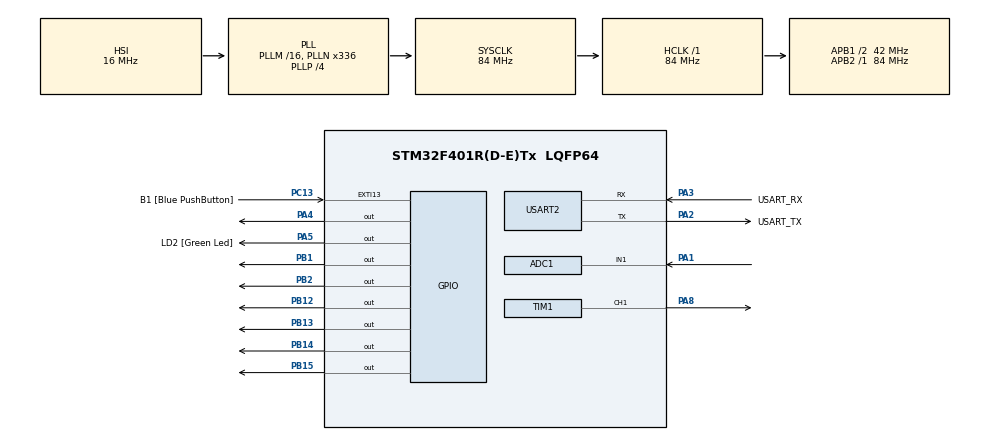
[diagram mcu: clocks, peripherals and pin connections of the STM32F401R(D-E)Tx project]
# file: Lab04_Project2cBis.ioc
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ADC1.Channel-0\#ChannelRegularConversion=ADC_CHANNEL_1
ADC1.ExternalTrigConv=ADC_EXTERNALTRIGCONV_T1_CC1
ADC1.NbrOfConversionFlag=1
ADC1.Rank-0\#ChannelRegularConversion=1
ADC1.SamplingTime-0\#ChannelRegularConversion=ADC_SAMPLETIME_480CYCLES
ADC1.master=1
Mcu.Family=STM32F4
Mcu.Name=STM32F401R(D-E)Tx
Mcu.Package=LQFP64
NVIC.ADC_IRQn=true\:0\:0\:false\:false\:true\:true\:true\:true
NVIC.PriorityGroup=NVIC_PRIORITYGROUP_0
PA1.Signal=ADCx_IN1
PA13.GPIO_Label=TMS
PA13.Mode=Serial_Wire
PA13.Signal=SYS_JTMS-SWDIO
PA14.GPIO_Label=TCK
PA14.Mode=Serial_Wire
PA14.Signal=SYS_JTCK-SWCLK
PA2.GPIO_Label=USART_TX
PA2.GPIO_Mode=GPIO_MODE_AF_PP
PA2.GPIO_PuPd=GPIO_NOPULL
PA2.GPIO_Speed=GPIO_SPEED_FREQ_LOW
PA2.Mode=Asynchronous
PA2.Signal=USART2_TX
PA3.GPIO_Label=USART_RX
PA3.GPIO_Mode=GPIO_MODE_AF_PP
PA3.GPIO_PuPd=GPIO_NOPULL
PA3.GPIO_Speed=GPIO_SPEED_FREQ_LOW
PA3.Mode=Asynchronous
PA3.Signal=USART2_RX
PA4.Signal=GPIO_Output
PA5.GPIO_Label=LD2 [Green Led]
PA5.GPIO_Mode=GPIO_MODE_OUTPUT_PP
PA5.GPIO_PuPd=GPIO_NOPULL
PA5.GPIO_Speed=GPIO_SPEED_FREQ_LOW
PA5.Signal=GPIO_Output
PA8.Signal=S_TIM1_CH1
PB1.Signal=GPIO_Output
PB12.Signal=GPIO_Output
PB13.Signal=GPIO_Output
PB14.Signal=GPIO_Output
PB15.Signal=GPIO_Output
PB2.Signal=GPIO_Output
PB3.GPIO_Label=SWO
PB3.Signal=SYS_JTDO-SWO
PC13-ANTI_TAMP.GPIO_Label=B1 [Blue PushButton]
PC13-ANTI_TAMP.GPIO_ModeDefaultEXTI=GPIO_MODE_IT_FALLING
PC13-ANTI_TAMP.GPIO_PuPd=GPIO_NOPULL
PC13-ANTI_TAMP.Signal=GPXTI13
PC14-OSC32_IN.Mode=LSE-External-Oscillator
PC14-OSC32_IN.Signal=RCC_OSC32_IN
PC15-OSC32_OUT.Mode=LSE-External-Oscillator
PC15-OSC32_OUT.Signal=RCC_OSC32_OUT
PH0\ -\ OSC_IN.Mode=HSE-External-Clock-Source
PH0\ -\ OSC_IN.Signal=RCC_OSC_IN
PH1\ -\ OSC_OUT.Mode=HSE-External-Clock-Source
PH1\ -\ OSC_OUT.Signal=RCC_OSC_OUT
ProjectManager.HeapSize=0x200
ProjectManager.StackSize=0x400
ProjectManager.TargetToolchain=STM32CubeIDE
RCC.48MHZClocksFreq_Value=48000000
RCC.AHBFreq_Value=84000000
RCC.APB1CLKDivider=RCC_HCLK_DIV2
RCC.APB1Freq_Value=42000000
RCC.APB1TimFreq_Value=84000000
RCC.APB2Freq_Value=84000000
RCC.APB2TimFreq_Value=84000000
RCC.CortexFreq_Value=84000000
RCC.HCLKFreq_Value=84000000
RCC.HSE_VALUE=8000000
RCC.HSI_VALUE=16000000
RCC.PLLN=336
RCC.PLLP=RCC_PLLP_DIV4
RCC.PLLQ=7
RCC.SYSCLKFreq_VALUE=84000000
RCC.SYSCLKSource=RCC_SYSCLKSOURCE_PLLCLK
RCC.VCOOutputFreq_Value=336000000
SH.ADCx_IN1.0=ADC1_IN1,IN1
SH.S_TIM1_CH1.0=TIM1_CH1,PWM Generation1 CH1
TIM1.Channel-PWM\ Generation1\ CH1=TIM_CHANNEL_1
TIM1.Period=2000-1
TIM1.Prescaler=8400-1
TIM1.Pulse-PWM\ Generation1\ CH1=1
USART2.VirtualMode=VM_ASYNC
VP_TIM1_VS_ClockSourceINT.Mode=Internal
board=NUCLEO-F401RE

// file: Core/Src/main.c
/* USER CODE BEGIN Header */
/**
  ******************************************************************************
  * @file           : main.c
  * @brief          : Main program body
  ******************************************************************************
  * @attention
  *
  * Copyright (c) 2023 STMicroelectronics.
  * All rights reserved.
  *
  * This software is licensed under terms that can be found in the LICENSE file
  * in the root directory of this software component.
  * If no LICENSE file comes with this software, it is provided AS-IS.
  *
  ******************************************************************************
  */
/* USER CODE END Header */
#include "main.h"

/* USER CODE BEGIN Includes */
#include "stdio.h"
#include "string.h"
#include "PMDB16_LCD.h"
/* USER CODE END Includes */

ADC_HandleTypeDef hadc1;

TIM_HandleTypeDef htim1;

UART_HandleTypeDef huart2;

void SystemClock_Config(void);
static void MX_GPIO_Init(void);
static void MX_USART2_UART_Init(void);
static void MX_ADC1_Init(void);
static void MX_TIM1_Init(void);

int main(void)
{

  /* MCU Configuration--------------------------------------------------------*/

  /* Reset of all peripherals, Initializes the Flash interface and the Systick. */
  HAL_Init();

  /* Configure the system clock */
  SystemClock_Config();

  /* Initialize all configured peripherals */
  MX_GPIO_Init();
  MX_USART2_UART_Init();
  MX_ADC1_Init();
  MX_TIM1_Init();
  /* USER CODE BEGIN 2 */
  HAL_TIM_PWM_Start(&htim1, TIM_CHANNEL_1);
  HAL_ADC_Start_IT(&hadc1);
  lcd_initialize();
  lcd_backlight_ON();
  /* USER CODE END 2 */

  /* Infinite loop */
  while (1)
  {

  }
}

void SystemClock_Config(void)
{
  RCC_OscInitTypeDef RCC_OscInitStruct = {0};
  RCC_ClkInitTypeDef RCC_ClkInitStruct = {0};

  /** Configure the main internal regulator output voltage
  */
  __HAL_RCC_PWR_CLK_ENABLE();
  __HAL_PWR_VOLTAGESCALING_CONFIG(PWR_REGULATOR_VOLTAGE_SCALE2);

  /** Initializes the RCC Oscillators according to the specified parameters
  * in the RCC_OscInitTypeDef structure.
  */
  RCC_OscInitStruct.OscillatorType = RCC_OSCILLATORTYPE_HSI;
  RCC_OscInitStruct.HSIState = RCC_HSI_ON;
  RCC_OscInitStruct.HSICalibrationValue = RCC_HSICALIBRATION_DEFAULT;
  RCC_OscInitStruct.PLL.PLLState = RCC_PLL_ON;
  RCC_OscInitStruct.PLL.PLLSource = RCC_PLLSOURCE_HSI;
  RCC_OscInitStruct.PLL.PLLM = 16;
  RCC_OscInitStruct.PLL.PLLN = 336;
  RCC_OscInitStruct.PLL.PLLP = RCC_PLLP_DIV4;
  RCC_OscInitStruct.PLL.PLLQ = 7;
  if (HAL_RCC_OscConfig(&RCC_OscInitStruct) != HAL_OK)
  {
    Error_Handler();
  }

  /** Initializes the CPU, AHB and APB buses clocks
  */
  RCC_ClkInitStruct.ClockType = RCC_CLOCKTYPE_HCLK|RCC_CLOCKTYPE_SYSCLK
                              |RCC_CLOCKTYPE_PCLK1|RCC_CLOCKTYPE_PCLK2;
  RCC_ClkInitStruct.SYSCLKSource = RCC_SYSCLKSOURCE_PLLCLK;
  RCC_ClkInitStruct.AHBCLKDivider = RCC_SYSCLK_DIV1;
  RCC_ClkInitStruct.APB1CLKDivider = RCC_HCLK_DIV2;
  RCC_ClkInitStruct.APB2CLKDivider = RCC_HCLK_DIV1;

  if (HAL_RCC_ClockConfig(&RCC_ClkInitStruct, FLASH_LATENCY_2) != HAL_OK)
  {
    Error_Handler();
  }
}

static void MX_ADC1_Init(void)
{

  ADC_ChannelConfTypeDef sConfig = {0};

  /** Configure the global features of the ADC (Clock, Resolution, Data Alignment and number of conversion)
  */
  hadc1.Instance = ADC1;
  hadc1.Init.ClockPrescaler = ADC_CLOCK_SYNC_PCLK_DIV4;
  hadc1.Init.Resolution = ADC_RESOLUTION_12B;
  hadc1.Init.ScanConvMode = DISABLE;
  hadc1.Init.ContinuousConvMode = DISABLE;
  hadc1.Init.DiscontinuousConvMode = DISABLE;
  hadc1.Init.ExternalTrigConvEdge = ADC_EXTERNALTRIGCONVEDGE_RISING;
  hadc1.Init.ExternalTrigConv = ADC_EXTERNALTRIGCONV_T1_CC1;
  hadc1.Init.DataAlign = ADC_DATAALIGN_RIGHT;
  hadc1.Init.NbrOfConversion = 1;
  hadc1.Init.DMAContinuousRequests = DISABLE;
  hadc1.Init.EOCSelection = ADC_EOC_SINGLE_CONV;
  if (HAL_ADC_Init(&hadc1) != HAL_OK)
  {
    Error_Handler();
  }

  /** Configure for the selected ADC regular channel its corresponding rank in the sequencer and its sample time.
  */
  sConfig.Channel = ADC_CHANNEL_1;
  sConfig.Rank = 1;
  sConfig.SamplingTime = ADC_SAMPLETIME_480CYCLES;
  if (HAL_ADC_ConfigChannel(&hadc1, &sConfig) != HAL_OK)
  {
    Error_Handler();
  }

}

static void MX_TIM1_Init(void)
{

  TIM_ClockConfigTypeDef sClockSourceConfig = {0};
  TIM_MasterConfigTypeDef sMasterConfig = {0};
  TIM_OC_InitTypeDef sConfigOC = {0};
  TIM_BreakDeadTimeConfigTypeDef sBreakDeadTimeConfig = {0};

  htim1.Instance = TIM1;
  htim1.Init.Prescaler = 8400-1;
  htim1.Init.CounterMode = TIM_COUNTERMODE_UP;
  htim1.Init.Period = 2000-1;
  htim1.Init.ClockDivision = TIM_CLOCKDIVISION_DIV1;
  htim1.Init.RepetitionCounter = 0;
  htim1.Init.AutoReloadPreload = TIM_AUTORELOAD_PRELOAD_DISABLE;
  if (HAL_TIM_Base_Init(&htim1) != HAL_OK)
  {
    Error_Handler();
  }
  sClockSourceConfig.ClockSource = TIM_CLOCKSOURCE_INTERNAL;
  if (HAL_TIM_ConfigClockSource(&htim1, &sClockSourceConfig) != HAL_OK)
  {
    Error_Handler();
  }
  if (HAL_TIM_PWM_Init(&htim1) != HAL_OK)
  {
    Error_Handler();
  }
  sMasterConfig.MasterOutputTrigger = TIM_TRGO_RESET;
  sMasterConfig.MasterSlaveMode = TIM_MASTERSLAVEMODE_DISABLE;
  if (HAL_TIMEx_MasterConfigSynchronization(&htim1, &sMasterConfig) != HAL_OK)
  {
    Error_Handler();
  }
  sConfigOC.OCMode = TIM_OCMODE_PWM1;
  sConfigOC.Pulse = 1;
  sConfigOC.OCPolarity = TIM_OCPOLARITY_HIGH;
  sConfigOC.OCNPolarity = TIM_OCNPOLARITY_HIGH;
  sConfigOC.OCFastMode = TIM_OCFAST_DISABLE;
  sConfigOC.OCIdleState = TIM_OCIDLESTATE_RESET;
  sConfigOC.OCNIdleState = TIM_OCNIDLESTATE_RESET;
  if (HAL_TIM_PWM_ConfigChannel(&htim1, &sConfigOC, TIM_CHANNEL_1) != HAL_OK)
  {
    Error_Handler();
  }
  sBreakDeadTimeConfig.OffStateRunMode = TIM_OSSR_DISABLE;
  sBreakDeadTimeConfig.OffStateIDLEMode = TIM_OSSI_DISABLE;
  sBreakDeadTimeConfig.LockLevel = TIM_LOCKLEVEL_OFF;
  sBreakDeadTimeConfig.DeadTime = 0;
  sBreakDeadTimeConfig.BreakState = TIM_BREAK_DISABLE;
  sBreakDeadTimeConfig.BreakPolarity = TIM_BREAKPOLARITY_HIGH;
  sBreakDeadTimeConfig.AutomaticOutput = TIM_AUTOMATICOUTPUT_DISABLE;
  if (HAL_TIMEx_ConfigBreakDeadTime(&htim1, &sBreakDeadTimeConfig) != HAL_OK)
  {
    Error_Handler();
  }
  HAL_TIM_MspPostInit(&htim1);

}

static void MX_USART2_UART_Init(void)
{

  huart2.Instance = USART2;
  huart2.Init.BaudRate = 115200;
  huart2.Init.WordLength = UART_WORDLENGTH_8B;
  huart2.Init.StopBits = UART_STOPBITS_1;
  huart2.Init.Parity = UART_PARITY_NONE;
  huart2.Init.Mode = UART_MODE_TX_RX;
  huart2.Init.HwFlowCtl = UART_HWCONTROL_NONE;
  huart2.Init.OverSampling = UART_OVERSAMPLING_16;
  if (HAL_UART_Init(&huart2) != HAL_OK)
  {
    Error_Handler();
  }

}

static void MX_GPIO_Init(void)
{
  GPIO_InitTypeDef GPIO_InitStruct = {0};

  /* GPIO Ports Clock Enable */
  __HAL_RCC_GPIOC_CLK_ENABLE();
  __HAL_RCC_GPIOH_CLK_ENABLE();
  __HAL_RCC_GPIOA_CLK_ENABLE();
  __HAL_RCC_GPIOB_CLK_ENABLE();

  /*Configure GPIO pin Output Level */
  HAL_GPIO_WritePin(GPIOA, GPIO_PIN_4|LD2_Pin, GPIO_PIN_RESET);

  /*Configure GPIO pin Output Level */
  HAL_GPIO_WritePin(GPIOB, GPIO_PIN_1|GPIO_PIN_2|GPIO_PIN_12|GPIO_PIN_13
                          |GPIO_PIN_14|GPIO_PIN_15, GPIO_PIN_RESET);

  /*Configure GPIO pin : B1_Pin */
  GPIO_InitStruct.Pin = B1_Pin;
  GPIO_InitStruct.Mode = GPIO_MODE_IT_FALLING;
  GPIO_InitStruct.Pull = GPIO_NOPULL;
  HAL_GPIO_Init(B1_GPIO_Port, &GPIO_InitStruct);

  /*Configure GPIO pins : PA4 LD2_Pin */
  GPIO_InitStruct.Pin = GPIO_PIN_4|LD2_Pin;
  GPIO_InitStruct.Mode = GPIO_MODE_OUTPUT_PP;
  GPIO_InitStruct.Pull = GPIO_NOPULL;
  GPIO_InitStruct.Speed = GPIO_SPEED_FREQ_LOW;
  HAL_GPIO_Init(GPIOA, &GPIO_InitStruct);

  /*Configure GPIO pins : PB1 PB2 PB12 PB13
                           PB14 PB15 */
  GPIO_InitStruct.Pin = GPIO_PIN_1|GPIO_PIN_2|GPIO_PIN_12|GPIO_PIN_13
                          |GPIO_PIN_14|GPIO_PIN_15;
  GPIO_InitStruct.Mode = GPIO_MODE_OUTPUT_PP;
  GPIO_InitStruct.Pull = GPIO_NOPULL;
  GPIO_InitStruct.Speed = GPIO_SPEED_FREQ_LOW;
  HAL_GPIO_Init(GPIOB, &GPIO_InitStruct);

}

/* USER CODE BEGIN 4 */
void HAL_ADC_ConvCpltCallback(ADC_HandleTypeDef *hadc){
	if(hadc == &hadc1){
		int conversion = HAL_ADC_GetValue(&hadc1);
		float voltage = conversion*3.3/4096.0;
		float value = conversion*80.0/4096.0;
		char string[64];
		snprintf(string, sizeof(string), "Voltage: %.3f V\r\n", voltage);
		// HAL_UART_Transmit(&huart2, string, length, 100);
		lcd_println(string, 0);
		lcd_drawBar((int) value);
	}
}
/* USER CODE END 4 */

void Error_Handler(void)
{
  __disable_irq();
  while (1)
  {
  }
}
